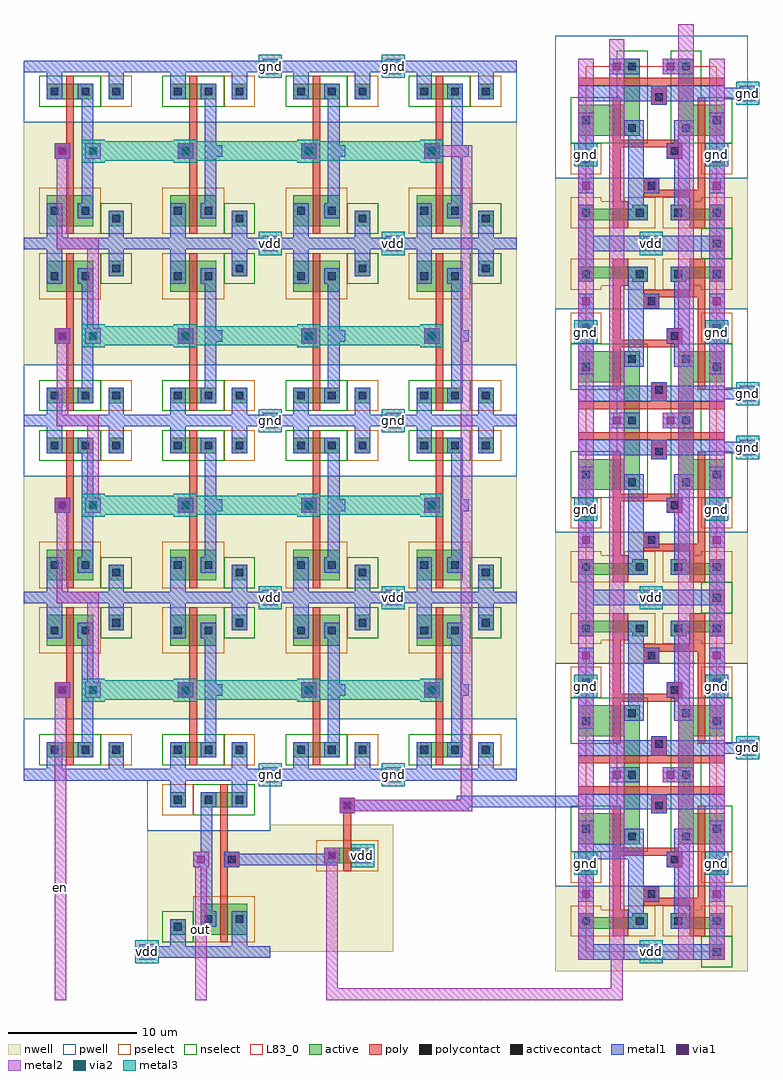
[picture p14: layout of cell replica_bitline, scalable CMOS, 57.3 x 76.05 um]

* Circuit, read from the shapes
.subckt replica_bitline en gnd out vdd
M1 delay_chain_2/pinv_9_1/A en gnd gnd nfet w=1.2u l=0.6u
M2 delay_chain_2/pinv_9_5/A delay_chain_2/pinv_9_1/A gnd gnd nfet w=1.2u l=0.6u
M3 delay_chain_2/pinv_9_10/A delay_chain_2/pinv_9_5/A gnd gnd nfet w=1.2u l=0.6u
M4 pmos_m1_w1_2_1/G delay_chain_2/pinv_9_10/A gnd gnd nfet w=1.2u l=0.6u
M5 delay_chain_2/pinv_9_1/Z delay_chain_2/pinv_9_1/A gnd gnd nfet w=1.2u l=0.6u
M6 delay_chain_2/pinv_9_5/Z delay_chain_2/pinv_9_5/A gnd gnd nfet w=1.2u l=0.6u
M7 delay_chain_2/pinv_9_9/Z delay_chain_2/pinv_9_10/A gnd gnd nfet w=1.2u l=0.6u
M8 delay_chain_2/pinv_9_13/Z pmos_m1_w1_2_1/G gnd gnd nfet w=1.2u l=0.6u
M9 gnd pinv_10_0/A out gnd nfet w=1.2u l=0.6u
M10 delay_chain_2/pinv_9_2/Z delay_chain_2/pinv_9_1/A gnd gnd nfet w=1.2u l=0.6u
M11 delay_chain_2/pinv_9_6/Z delay_chain_2/pinv_9_5/A gnd gnd nfet w=1.2u l=0.6u
M12 delay_chain_2/pinv_9_10/Z delay_chain_2/pinv_9_10/A gnd gnd nfet w=1.2u l=0.6u
M13 delay_chain_2/pinv_9_14/Z pmos_m1_w1_2_1/G gnd gnd nfet w=1.2u l=0.6u
M14 delay_chain_2/pinv_9_3/Z delay_chain_2/pinv_9_1/A gnd gnd nfet w=1.2u l=0.6u
M15 delay_chain_2/pinv_9_7/Z delay_chain_2/pinv_9_5/A gnd gnd nfet w=1.2u l=0.6u
M16 delay_chain_2/pinv_9_11/Z delay_chain_2/pinv_9_10/A gnd gnd nfet w=1.2u l=0.6u
M17 delay_chain_2/pinv_9_15/Z pmos_m1_w1_2_1/G gnd gnd nfet w=1.2u l=0.6u
M18 gnd n1 gnd gnd nfet w=2.4u l=0.6u
M19 n2 n3 gnd gnd nfet w=2.4u l=0.6u
M20 n4 n5 gnd gnd nfet w=2.4u l=0.6u
M21 n6 n7 gnd gnd nfet w=2.4u l=0.6u
M22 n8 n9 gnd gnd nfet w=2.4u l=0.6u
M23 pinv_10_0/A pmos_m1_w1_2_1/G gnd gnd nfet w=1.2u l=0.6u
M24 n2 gnd pinv_10_0/A gnd nfet w=1.2u l=0.6u
M25 pinv_10_0/A gnd n4 gnd nfet w=1.2u l=0.6u
M26 n6 gnd pinv_10_0/A gnd nfet w=1.2u l=0.6u
M27 pinv_10_0/A gnd n8 gnd nfet w=1.2u l=0.6u
M28 replica_cell_6t_3/BR pmos_m1_w1_2_1/G n1 gnd nfet w=1.2u l=0.6u
M29 n3 gnd replica_cell_6t_3/BR gnd nfet w=1.2u l=0.6u
M30 replica_cell_6t_3/BR gnd n5 gnd nfet w=1.2u l=0.6u
M31 n7 gnd replica_cell_6t_3/BR gnd nfet w=1.2u l=0.6u
M32 replica_cell_6t_3/BR gnd n9 gnd nfet w=1.2u l=0.6u
M33 gnd gnd n1 gnd nfet w=2.4u l=0.6u
M34 gnd n2 n3 gnd nfet w=2.4u l=0.6u
M35 gnd n4 n5 gnd nfet w=2.4u l=0.6u
M36 gnd n6 n7 gnd nfet w=2.4u l=0.6u
M37 gnd n8 n9 gnd nfet w=2.4u l=0.6u
M38 delay_chain_2/pinv_9_1/A en vdd vdd pfet w=2.4u l=0.6u
M39 delay_chain_2/pinv_9_5/A delay_chain_2/pinv_9_1/A vdd vdd pfet w=2.4u l=0.6u
M40 delay_chain_2/pinv_9_10/A delay_chain_2/pinv_9_5/A vdd vdd pfet w=2.4u l=0.6u
M41 pmos_m1_w1_2_1/G delay_chain_2/pinv_9_10/A vdd vdd pfet w=2.4u l=0.6u
M42 delay_chain_2/pinv_9_1/Z delay_chain_2/pinv_9_1/A vdd vdd pfet w=2.4u l=0.6u
M43 delay_chain_2/pinv_9_5/Z delay_chain_2/pinv_9_5/A vdd vdd pfet w=2.4u l=0.6u
M44 delay_chain_2/pinv_9_9/Z delay_chain_2/pinv_9_10/A vdd vdd pfet w=2.4u l=0.6u
M45 delay_chain_2/pinv_9_13/Z pmos_m1_w1_2_1/G vdd vdd pfet w=2.4u l=0.6u
M46 vdd pinv_10_0/A out vdd pfet w=2.4u l=0.6u
M47 delay_chain_2/pinv_9_2/Z delay_chain_2/pinv_9_1/A vdd vdd pfet w=2.4u l=0.6u
M48 delay_chain_2/pinv_9_6/Z delay_chain_2/pinv_9_5/A vdd vdd pfet w=2.4u l=0.6u
M49 delay_chain_2/pinv_9_10/Z delay_chain_2/pinv_9_10/A vdd vdd pfet w=2.4u l=0.6u
M50 delay_chain_2/pinv_9_14/Z pmos_m1_w1_2_1/G vdd vdd pfet w=2.4u l=0.6u
M51 vdd pmos_m1_w1_2_1/G pinv_10_0/A vdd pfet w=1.2u l=0.6u
M52 delay_chain_2/pinv_9_3/Z delay_chain_2/pinv_9_1/A vdd vdd pfet w=2.4u l=0.6u
M53 delay_chain_2/pinv_9_7/Z delay_chain_2/pinv_9_5/A vdd vdd pfet w=2.4u l=0.6u
M54 delay_chain_2/pinv_9_11/Z delay_chain_2/pinv_9_10/A vdd vdd pfet w=2.4u l=0.6u
M55 delay_chain_2/pinv_9_15/Z pmos_m1_w1_2_1/G vdd vdd pfet w=2.4u l=0.6u
M56 gnd n1 vdd vdd pfet w=0.9u l=1.2u
M57 n2 n3 vdd vdd pfet w=0.9u l=1.2u
M58 n4 n5 vdd vdd pfet w=0.9u l=1.2u
M59 n6 n7 vdd vdd pfet w=0.9u l=1.2u
M60 n8 n9 vdd vdd pfet w=0.9u l=1.2u
M61 vdd gnd n1 vdd pfet w=0.9u l=1.2u
M62 vdd n2 n3 vdd pfet w=0.9u l=1.2u
M63 vdd n4 n5 vdd pfet w=0.9u l=1.2u
M64 vdd n6 n7 vdd pfet w=0.9u l=1.2u
M65 vdd n8 n9 vdd pfet w=0.9u l=1.2u
.ends

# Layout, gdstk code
from math import pi, radians
import gdstk
lib = gdstk.Library(unit=1e-6, precision=1e-09)
def R(c, l, rs):  # rectangles x0, y0, x1, y1
    for r in rs: c.add(gdstk.rectangle(r[:2], r[2:], *l))
def A(c, l, x, y, w, h, nx, ny, dx, dy):  # array of equal rectangles
    R(c, l, [(x+i*dx, y+j*dy, x+i*dx+w, y+j*dy+h) for i in range(nx) for j in range(ny)])
pwell = (41, 0)
nwell = (42, 0)
active = (43, 0)
pselect = (44, 0)
nselect = (45, 0)
poly = (46, 0)
polycontact = (47, 0)
activecontact = (48, 0)
metal1 = (49, 0)
via1 = (50, 0)
metal2 = (51, 0)
via2 = (61, 0)
metal3 = (62, 0)
L83_0 = (83, 0)

active_contact_metal1_1x = lib.new_cell('active_contact_metal1_1x1_pn')
R(active_contact_metal1_1x, nwell, [(-1.8,-1.8,3,3)])
R(active_contact_metal1_1x, active, [(0,0,1.2,1.2)])
R(active_contact_metal1_1x, pselect, [(-0.6,-0.6,1.8,1.8)])
R(active_contact_metal1_1x, activecontact, [(0.3,0.3,0.9,0.9)])
R(active_contact_metal1_1x, metal1, [(0,0,1.2,1.2)])

pmos_m1_w2_4_a_p = lib.new_cell('pmos_m1_w2_4_a_p')
R(pmos_m1_w2_4_a_p, nwell, [(-1.8,-1.8,5.4,4.2)])
R(pmos_m1_w2_4_a_p, active, [(0,0,3.6,2.4)])
R(pmos_m1_w2_4_a_p, pselect, [(-0.6,-0.6,4.2,3)])
R(pmos_m1_w2_4_a_p, poly, [(1.5,-0.6,2.1,3), (1.5,-0.6,2.1,3)])
R(pmos_m1_w2_4_a_p, metal1, [(0,0.6,1.2,1.8), (2.4,0.6,3.6,1.8)])
pmos_m1_w2_4_a_p.add(gdstk.Reference(active_contact_metal1_1x, (0,0.6)))
pmos_m1_w2_4_a_p.add(gdstk.Reference(active_contact_metal1_1x, (2.4,0.6)))
pmos_m1_w2_4_a_p.add(gdstk.Label('G', (1.8,1.2), layer=46, texttype=0))
pmos_m1_w2_4_a_p.add(gdstk.Label('S', (0.6,1.2), layer=49, texttype=0))
pmos_m1_w2_4_a_p.add(gdstk.Label('D', (3,1.2), layer=49, texttype=0))

c_active_contact_metal1_1x = lib.new_cell('active_contact_metal1_1x1_np')
R(c_active_contact_metal1_1x, pwell, [(-1.8,-1.8,3,3)])
R(c_active_contact_metal1_1x, active, [(0,0,1.2,1.2)])
R(c_active_contact_metal1_1x, nselect, [(-0.6,-0.6,1.8,1.8)])
R(c_active_contact_metal1_1x, activecontact, [(0.3,0.3,0.9,0.9)])
R(c_active_contact_metal1_1x, metal1, [(0,0,1.2,1.2)])

nmos_m1_w1_2_a_p = lib.new_cell('nmos_m1_w1_2_a_p')
R(nmos_m1_w1_2_a_p, pwell, [(-1.8,-1.8,5.4,3)])
R(nmos_m1_w1_2_a_p, active, [(0,0,3.6,1.2)])
R(nmos_m1_w1_2_a_p, nselect, [(-0.6,-0.6,4.2,1.8)])
R(nmos_m1_w1_2_a_p, poly, [(1.5,-0.6,2.1,1.8), (1.5,-0.6,2.1,1.8)])
R(nmos_m1_w1_2_a_p, metal1, [(0,0,1.2,1.2), (2.4,0,3.6,1.2)])
nmos_m1_w1_2_a_p.add(gdstk.Reference(c_active_contact_metal1_1x, (0,0)))
nmos_m1_w1_2_a_p.add(gdstk.Reference(c_active_contact_metal1_1x, (2.4,0)))
nmos_m1_w1_2_a_p.add(gdstk.Label('G', (1.8,0.6), layer=46, texttype=0))
nmos_m1_w1_2_a_p.add(gdstk.Label('S', (0.6,0.6), layer=49, texttype=0))
nmos_m1_w1_2_a_p.add(gdstk.Label('D', (3,0.6), layer=49, texttype=0))

c_active_contact_metal1_1x_ = lib.new_cell('active_contact_metal1_1x1_nn')
R(c_active_contact_metal1_1x_, nwell, [(-1.8,-1.8,3,3)])
R(c_active_contact_metal1_1x_, active, [(0,0,1.2,1.2)])
R(c_active_contact_metal1_1x_, nselect, [(-0.6,-0.6,1.8,1.8)])
R(c_active_contact_metal1_1x_, activecontact, [(0.3,0.3,0.9,0.9)])
R(c_active_contact_metal1_1x_, metal1, [(0,0,1.2,1.2)])

c_active_contact_metal1_1x__ = lib.new_cell('active_contact_metal1_1x1_pp')
R(c_active_contact_metal1_1x__, pwell, [(-1.8,-1.8,3,3)])
R(c_active_contact_metal1_1x__, active, [(0,0,1.2,1.2)])
R(c_active_contact_metal1_1x__, pselect, [(-0.6,-0.6,1.8,1.8)])
R(c_active_contact_metal1_1x__, activecontact, [(0.3,0.3,0.9,0.9)])
R(c_active_contact_metal1_1x__, metal1, [(0,0,1.2,1.2)])

poly_contact_metal1_1x1 = lib.new_cell('poly_contact_metal1_1x1')
R(poly_contact_metal1_1x1, poly, [(0,0,1.2,1.2)])
R(poly_contact_metal1_1x1, polycontact, [(0.3,0.3,0.9,0.9)])
R(poly_contact_metal1_1x1, metal1, [(0,0,1.2,1.2)])

pinv_10 = lib.new_cell('pinv_10')
R(pinv_10, pwell, [(0,-0.45,9.6,4.35)])
R(pinv_10, nwell, [(0,4.35,9.6,14.25)])
R(pinv_10, poly, [(3.3,0.75,3.9,9.45), (3,6,3.3,7.2)])
R(pinv_10, metal1, [(0,-0.45,9.6,0.45), (1.8,-0.45,3,1.35), (6.6,0,7.8,1.95), (4.5,1.35,5.4,10.65), (2.4,6,3.6,7.2), (4.95,6.15,5.85,7.05), (1.8,10.65,3,14.25), (6.6,11.85,7.8,13.8), (0,13.35,9.6,14.25)])
pinv_10.add(gdstk.Reference(pmos_m1_w2_4_a_p, (1.8,10.05)))
pinv_10.add(gdstk.Reference(nmos_m1_w1_2_a_p, (1.8,1.35)))
pinv_10.add(gdstk.Reference(c_active_contact_metal1_1x_, (6.6,11.25)))
pinv_10.add(gdstk.Reference(c_active_contact_metal1_1x__, (6.6,1.35)))
pinv_10.add(gdstk.Reference(poly_contact_metal1_1x1, (2.4,6)))
pinv_10.add(gdstk.Label('gnd', (4.8,0), layer=49, texttype=0))
pinv_10.add(gdstk.Label('vdd', (4.8,13.8), layer=49, texttype=0))
pinv_10.add(gdstk.Label('A', (3,6.6), layer=49, texttype=0))
pinv_10.add(gdstk.Label('Z', (5.4,6.6), layer=49, texttype=0))

pmos_m1_w1_2 = lib.new_cell('pmos_m1_w1_2')
R(pmos_m1_w1_2, nwell, [(-1.8,-1.8,5.4,3)])
R(pmos_m1_w1_2, active, [(0,0,3.6,1.2)])
R(pmos_m1_w1_2, pselect, [(-0.6,-0.6,4.2,1.8)])
R(pmos_m1_w1_2, poly, [(1.5,-0.6,2.1,1.8), (1.5,-0.6,2.1,1.8)])
R(pmos_m1_w1_2, metal1, [(0,0,1.2,1.2), (2.4,0,3.6,1.2)])
pmos_m1_w1_2.add(gdstk.Reference(active_contact_metal1_1x, (0,0)))
pmos_m1_w1_2.add(gdstk.Reference(active_contact_metal1_1x, (2.4,0)))
pmos_m1_w1_2.add(gdstk.Label('G', (1.8,0.6), layer=46, texttype=0))
pmos_m1_w1_2.add(gdstk.Label('S', (0.6,0.6), layer=49, texttype=0))
pmos_m1_w1_2.add(gdstk.Label('D', (3,0.6), layer=49, texttype=0))

pinv_9 = lib.new_cell('pinv_9')
R(pinv_9, pwell, [(0,-0.45,9.6,4.35)])
R(pinv_9, nwell, [(0,4.35,9.6,14.25)])
R(pinv_9, poly, [(3.3,0.75,3.9,9.45), (3,6,3.3,7.2)])
R(pinv_9, metal1, [(0,-0.45,9.6,0.45), (1.8,-0.45,3,1.35), (6.6,0,7.8,1.95), (4.5,1.35,5.4,10.65), (2.4,6,3.6,7.2), (4.95,6.15,5.85,7.05), (1.8,10.65,3,14.25), (6.6,11.85,7.8,13.8), (0,13.35,9.6,14.25)])
pinv_9.add(gdstk.Reference(pmos_m1_w2_4_a_p, (1.8,10.05)))
pinv_9.add(gdstk.Reference(nmos_m1_w1_2_a_p, (1.8,1.35)))
pinv_9.add(gdstk.Reference(c_active_contact_metal1_1x_, (6.6,11.25)))
pinv_9.add(gdstk.Reference(c_active_contact_metal1_1x__, (6.6,1.35)))
pinv_9.add(gdstk.Reference(poly_contact_metal1_1x1, (2.4,6)))
pinv_9.add(gdstk.Label('gnd', (4.8,0), layer=49, texttype=0))
pinv_9.add(gdstk.Label('vdd', (4.8,13.8), layer=49, texttype=0))
pinv_9.add(gdstk.Label('A', (3,6.6), layer=49, texttype=0))
pinv_9.add(gdstk.Label('Z', (5.4,6.6), layer=49, texttype=0))

metal1_via1_metal2_1x1 = lib.new_cell('metal1_via1_metal2_1x1')
R(metal1_via1_metal2_1x1, metal1, [(0,0,1.2,1.2)])
R(metal1_via1_metal2_1x1, via1, [(0.3,0.3,0.9,0.9)])
R(metal1_via1_metal2_1x1, metal2, [(0,0,1.2,1.2)])

metal2_via2_metal3_1x1 = lib.new_cell('metal2_via2_metal3_1x1')
R(metal2_via2_metal3_1x1, metal2, [(0.3,0.3,1.5,1.5)])
R(metal2_via2_metal3_1x1, via2, [(0.6,0.6,1.2,1.2)])
R(metal2_via2_metal3_1x1, metal3, [(0,0,1.8,1.8)])

delay_chain = lib.new_cell('delay_chain')
A(delay_chain, metal2, 2.55, 13.35, 0.9, 0.9, 1, 3, 0, 13.8)
A(delay_chain, metal2, 3, 13.35, 2.4, 0.9, 1, 3, 0, 13.8)
A(delay_chain, metal2, 4.95, 13.35, 0.9, 0.9, 1, 3, 0, 13.8)
R(delay_chain, metal2, [(2.4,0,3.3,6.6), (34.05,0,34.95,48.6), (34.05,0,34.95,48.6), (4.95,6.6,5.85,13.8), (2.55,13.8,3.45,21), (4.95,21,5.85,27.6), (2.55,27.6,3.45,34.2), (4.95,34.2,5.85,41.4), (2.55,41.4,3.45,48.6), (31.8,48.15,34.5,49.05), (34.05,48.15,34.95,49.05)])
A(delay_chain, metal3, 18.45, -0.75, 1.5, 1.5, 1, 5, 0, 13.8)
A(delay_chain, metal3, 28.05, -0.75, 1.5, 1.5, 1, 5, 0, 13.8)
R(delay_chain, metal3, [(5.4,5.85,31.8,7.35), (5.4,20.25,31.8,21.75), (5.4,33.45,31.8,34.95), (5.4,47.85,31.8,49.35)])
delay_chain.add(gdstk.Reference(pinv_9, (0,0)))
delay_chain.add(gdstk.Reference(pinv_9, (9.6,0)))
delay_chain.add(gdstk.Reference(pinv_9, (19.2,0)))
delay_chain.add(gdstk.Reference(pinv_9, (28.8,0)))
delay_chain.add(gdstk.Reference(pinv_9, (0,27.6), x_reflection=True))
delay_chain.add(gdstk.Reference(pinv_9, (9.6,27.6), x_reflection=True))
delay_chain.add(gdstk.Reference(pinv_9, (19.2,27.6), x_reflection=True))
delay_chain.add(gdstk.Reference(pinv_9, (28.8,27.6), x_reflection=True))
delay_chain.add(gdstk.Reference(pinv_9, (0,27.6)))
delay_chain.add(gdstk.Reference(pinv_9, (9.6,27.6)))
delay_chain.add(gdstk.Reference(pinv_9, (19.2,27.6)))
delay_chain.add(gdstk.Reference(pinv_9, (28.8,27.6)))
delay_chain.add(gdstk.Reference(pinv_9, (0,55.2), x_reflection=True))
delay_chain.add(gdstk.Reference(pinv_9, (9.6,55.2), x_reflection=True))
delay_chain.add(gdstk.Reference(pinv_9, (19.2,55.2), x_reflection=True))
delay_chain.add(gdstk.Reference(pinv_9, (28.8,55.2), x_reflection=True))
delay_chain.add(gdstk.Reference(metal1_via1_metal2_1x1, (12,6)))
delay_chain.add(gdstk.Reference(metal2_via2_metal3_1x1, (11.7,5.7)))
delay_chain.add(gdstk.Reference(metal1_via1_metal2_1x1, (21.6,6)))
delay_chain.add(gdstk.Reference(metal2_via2_metal3_1x1, (21.3,5.7)))
delay_chain.add(gdstk.Reference(metal1_via1_metal2_1x1, (31.2,6)))
delay_chain.add(gdstk.Reference(metal2_via2_metal3_1x1, (30.9,5.7)))
delay_chain.add(gdstk.Reference(metal1_via1_metal2_1x1, (2.4,6)))
delay_chain.add(gdstk.Reference(metal1_via1_metal2_1x1, (4.8,6)))
delay_chain.add(gdstk.Reference(metal2_via2_metal3_1x1, (4.5,5.7)))
delay_chain.add(gdstk.Reference(metal1_via1_metal2_1x1, (12,20.4)))
delay_chain.add(gdstk.Reference(metal2_via2_metal3_1x1, (11.7,20.1)))
delay_chain.add(gdstk.Reference(metal1_via1_metal2_1x1, (21.6,20.4)))
delay_chain.add(gdstk.Reference(metal2_via2_metal3_1x1, (21.3,20.1)))
delay_chain.add(gdstk.Reference(metal1_via1_metal2_1x1, (31.2,20.4)))
delay_chain.add(gdstk.Reference(metal2_via2_metal3_1x1, (30.9,20.1)))
delay_chain.add(gdstk.Reference(metal1_via1_metal2_1x1, (2.4,20.4)))
delay_chain.add(gdstk.Reference(metal1_via1_metal2_1x1, (4.8,20.4)))
delay_chain.add(gdstk.Reference(metal2_via2_metal3_1x1, (4.5,20.1)))
delay_chain.add(gdstk.Reference(metal1_via1_metal2_1x1, (12,33.6)))
delay_chain.add(gdstk.Reference(metal2_via2_metal3_1x1, (11.7,33.3)))
delay_chain.add(gdstk.Reference(metal1_via1_metal2_1x1, (21.6,33.6)))
delay_chain.add(gdstk.Reference(metal2_via2_metal3_1x1, (21.3,33.3)))
delay_chain.add(gdstk.Reference(metal1_via1_metal2_1x1, (31.2,33.6)))
delay_chain.add(gdstk.Reference(metal2_via2_metal3_1x1, (30.9,33.3)))
delay_chain.add(gdstk.Reference(metal1_via1_metal2_1x1, (2.4,33.6)))
delay_chain.add(gdstk.Reference(metal1_via1_metal2_1x1, (4.8,33.6)))
delay_chain.add(gdstk.Reference(metal2_via2_metal3_1x1, (4.5,33.3)))
delay_chain.add(gdstk.Reference(metal1_via1_metal2_1x1, (12,48)))
delay_chain.add(gdstk.Reference(metal2_via2_metal3_1x1, (11.7,47.7)))
delay_chain.add(gdstk.Reference(metal1_via1_metal2_1x1, (21.6,48)))
delay_chain.add(gdstk.Reference(metal2_via2_metal3_1x1, (21.3,47.7)))
delay_chain.add(gdstk.Reference(metal1_via1_metal2_1x1, (31.2,48)))
delay_chain.add(gdstk.Reference(metal2_via2_metal3_1x1, (30.9,47.7)))
delay_chain.add(gdstk.Reference(metal1_via1_metal2_1x1, (2.4,48)))
delay_chain.add(gdstk.Reference(metal1_via1_metal2_1x1, (4.8,48)))
delay_chain.add(gdstk.Reference(metal2_via2_metal3_1x1, (4.5,47.7)))
delay_chain.add(gdstk.Reference(metal1_via1_metal2_1x1, (19.8,13.2), rotation=pi/2))
delay_chain.add(gdstk.Reference(metal2_via2_metal3_1x1, (20.1,12.9), rotation=pi/2))
delay_chain.add(gdstk.Reference(metal1_via1_metal2_1x1, (19.8,-0.6), rotation=pi/2))
delay_chain.add(gdstk.Reference(metal2_via2_metal3_1x1, (20.1,-0.9), rotation=pi/2))
delay_chain.add(gdstk.Reference(metal1_via1_metal2_1x1, (29.4,13.2), rotation=pi/2))
delay_chain.add(gdstk.Reference(metal2_via2_metal3_1x1, (29.7,12.9), rotation=pi/2))
delay_chain.add(gdstk.Reference(metal1_via1_metal2_1x1, (29.4,-0.6), rotation=pi/2))
delay_chain.add(gdstk.Reference(metal2_via2_metal3_1x1, (29.7,-0.9), rotation=pi/2))
delay_chain.add(gdstk.Reference(metal1_via1_metal2_1x1, (19.8,40.8), rotation=pi/2))
delay_chain.add(gdstk.Reference(metal2_via2_metal3_1x1, (20.1,40.5), rotation=pi/2))
delay_chain.add(gdstk.Reference(metal1_via1_metal2_1x1, (19.8,27), rotation=pi/2))
delay_chain.add(gdstk.Reference(metal2_via2_metal3_1x1, (20.1,26.7), rotation=pi/2))
delay_chain.add(gdstk.Reference(metal1_via1_metal2_1x1, (29.4,40.8), rotation=pi/2))
delay_chain.add(gdstk.Reference(metal2_via2_metal3_1x1, (29.7,40.5), rotation=pi/2))
delay_chain.add(gdstk.Reference(metal1_via1_metal2_1x1, (29.4,27), rotation=pi/2))
delay_chain.add(gdstk.Reference(metal2_via2_metal3_1x1, (29.7,26.7), rotation=pi/2))
delay_chain.add(gdstk.Reference(metal1_via1_metal2_1x1, (19.8,54.6), rotation=pi/2))
delay_chain.add(gdstk.Reference(metal2_via2_metal3_1x1, (20.1,54.3), rotation=pi/2))
delay_chain.add(gdstk.Reference(metal1_via1_metal2_1x1, (29.4,54.6), rotation=pi/2))
delay_chain.add(gdstk.Reference(metal2_via2_metal3_1x1, (29.7,54.3), rotation=pi/2))
delay_chain.add(gdstk.Reference(metal1_via1_metal2_1x1, (2.4,6)))
delay_chain.add(gdstk.Reference(metal1_via1_metal2_1x1, (31.2,48)))
delay_chain.add(gdstk.Label('vdd', (19.2,13.8), layer=62, texttype=0))
delay_chain.add(gdstk.Label('vdd', (28.8,13.8), layer=62, texttype=0))
delay_chain.add(gdstk.Label('vdd', (19.2,41.4), layer=62, texttype=0))
delay_chain.add(gdstk.Label('vdd', (28.8,41.4), layer=62, texttype=0))
delay_chain.add(gdstk.Label('gnd', (19.2,0), layer=62, texttype=0))
delay_chain.add(gdstk.Label('gnd', (28.8,0), layer=62, texttype=0))
delay_chain.add(gdstk.Label('gnd', (19.2,27.6), layer=62, texttype=0))
delay_chain.add(gdstk.Label('gnd', (28.8,27.6), layer=62, texttype=0))
delay_chain.add(gdstk.Label('gnd', (19.2,55.2), layer=62, texttype=0))
delay_chain.add(gdstk.Label('gnd', (28.8,55.2), layer=62, texttype=0))
delay_chain.add(gdstk.Label('in', (2.85,3.3), layer=51, texttype=0))
delay_chain.add(gdstk.Label('out', (34.5,24.3), layer=51, texttype=0))

replica_cell_6t = lib.new_cell('replica_cell_6t')
R(replica_cell_6t, pwell, [(-2.4,-2.4,12.6,8.7)])
R(replica_cell_6t, nwell, [(-2.4,8.7,12.6,15.3)])
A(replica_cell_6t, active, 3.6, 10.8, 1.2, 0.3, 3, 1, 3, 0)
R(replica_cell_6t, active, [(3,-0.6,4.2,3), (7.2,-0.6,8.4,3), (-0.6,3,4.2,5.4), (7.2,3,10.8,5.4), (-0.6,6.6,0.6,7.8), (9.6,6.6,10.8,7.8), (-0.6,10.8,0.6,11.1), (-0.6,11.1,4.8,12), (6.6,11.1,10.8,12), (9.6,13.2,10.8,14.4)])
A(replica_cell_6t, pselect, 3, 10.2, 2.4, 0.3, 3, 1, 3, 0)
R(replica_cell_6t, pselect, [(-1.2,6,1.2,8.4), (9,6,11.4,8.4), (-1.2,10.2,1.2,10.5), (-1.2,10.5,5.4,12.6), (6,10.5,11.4,12.6)])
R(replica_cell_6t, nselect, [(2.4,-1.2,4.8,2.4), (6.6,-1.2,9,2.4), (-1.2,2.4,4.8,6), (6.6,2.4,11.4,6), (9,12.6,11.4,15)])
R(replica_cell_6t, poly, [(-0.6,0.9,10.8,1.5), (5.1,1.5,6.3,3), (2.1,2.4,2.7,5.7), (8.7,2.4,9.3,9.6), (2.1,5.7,7.2,6), (2.1,6,7.5,6.3), (2.1,6.3,2.7,10.5), (6.3,6.3,7.5,7.2), (4.5,8.7,5.7,9.6), (4.5,9.6,9.3,10.2), (8.1,10.2,9.3,12.6), (2.1,10.5,3.3,12.6)])
R(replica_cell_6t, polycontact, [(5.4,2.1,6,2.7), (6.6,6.3,7.2,6.9), (4.8,9,5.4,9.6)])
A(replica_cell_6t, activecontact, 3.9, 11.1, 0.6, 0.6, 3, 1, 3, 0)
R(replica_cell_6t, activecontact, [(3.3,-0.3,3.9,0.3), (7.5,-0.3,8.1,0.3), (-0.3,3.9,0.3,4.5), (9.9,3.9,10.5,4.5), (3.3,4.5,3.9,5.1), (7.5,4.5,8.1,5.1), (-0.3,6.9,0.3,7.5), (9.9,6.9,10.5,7.5), (-0.3,11.1,0.3,11.7), (9.9,13.5,10.5,14.1)])
R(replica_cell_6t, metal1, [(1.8,-0.6,4.2,0.6), (6,-0.6,8.4,0.6), (-0.6,1.5,10.8,2.7), (-0.6,1.5,10.8,2.7), (5.1,2.7,6.3,3), (-0.6,3.6,0.6,5.4), (9.6,3.6,10.8,9.9), (3,4.2,4.5,5.4), (6.9,4.2,8.4,5.4), (-0.6,5.4,4.5,6.6), (6.9,5.4,8.1,6), (6.3,6,8.1,7.2), (-0.6,6.6,0.6,9.9), (3.3,6.6,4.5,8.7), (6.9,7.2,8.1,10.8), (3.3,8.7,5.7,9.9), (3.3,9.9,4.5,10.8), (-0.6,10.8,0.6,13.2), (3.3,10.8,4.8,12), (6.6,10.8,8.1,12), (9.6,10.8,10.8,13.2), (-0.6,13.2,10.8,14.4)])
R(replica_cell_6t, via1, [(2.1,-0.3,2.7,0.3), (6.3,-0.3,6.9,0.3), (-0.3,9,0.3,9.6), (9.9,9,10.5,9.6), (4.8,13.5,5.4,14.1)])
R(replica_cell_6t, metal2, [(-0.6,-0.6,0.6,14.4), (-0.6,-0.6,0.6,14.4), (1.8,-0.6,3,14.4), (1.8,-0.6,3,14.4), (6,-0.6,8.4,0.6), (9.6,-0.6,10.8,14.4), (9.6,-0.6,10.8,14.4), (7.2,0.6,8.4,14.4), (7.2,0.6,8.4,14.4), (4.5,13.2,5.7,14.4), (4.5,13.2,5.7,14.4)])
R(replica_cell_6t, L83_0, [(0,0,10.2,13.8)])
replica_cell_6t.add(gdstk.Label('gnd', (0,0), layer=51, texttype=0))
replica_cell_6t.add(gdstk.Label('gnd', (10.2,0), layer=51, texttype=0))
replica_cell_6t.add(gdstk.Label('vdd', (5.1,13.8), layer=51, texttype=0))
replica_cell_6t.add(gdstk.Label('WL', (1.2,2.1), layer=49, texttype=0))
replica_cell_6t.add(gdstk.Label('BL', (2.4,12.9), layer=51, texttype=0))
replica_cell_6t.add(gdstk.Label('BR', (7.8,12.9), layer=51, texttype=0))
replica_cell_6t.add(gdstk.Label('BL', (2.4,6.9), layer=51, texttype=0))
replica_cell_6t.add(gdstk.Label('BR', (7.8,7.5), layer=51, texttype=0))
replica_cell_6t.add(gdstk.Label('WL', (5.1,2.1), layer=49, texttype=0))
replica_cell_6t.add(gdstk.Label('vdd', (5.1,13.8), layer=51, texttype=0))
replica_cell_6t.add(gdstk.Label('gnd', (0,6.9), layer=51, texttype=0))
replica_cell_6t.add(gdstk.Label('gnd', (10.2,6.9), layer=51, texttype=0))

cell_6t = lib.new_cell('cell_6t')
R(cell_6t, pwell, [(-2.4,-2.4,12.6,8.7)])
R(cell_6t, nwell, [(-2.4,8.7,12.6,15.3)])
A(cell_6t, active, 3.6, 10.8, 1.2, 0.3, 3, 1, 3, 0)
R(cell_6t, active, [(3,-0.6,4.2,3), (7.2,-0.6,8.4,3), (-0.6,3,4.2,5.4), (7.2,3,10.8,5.4), (-0.6,6.6,0.6,7.8), (9.6,6.6,10.8,7.8), (-0.6,10.8,0.6,11.1), (-0.6,11.1,4.8,12), (6.6,11.1,10.8,12), (9.6,13.2,10.8,14.4)])
A(cell_6t, pselect, 3, 10.2, 2.4, 0.3, 3, 1, 3, 0)
R(cell_6t, pselect, [(-1.2,6,1.2,8.4), (9,6,11.4,8.4), (-1.2,10.2,1.2,10.5), (-1.2,10.5,5.4,12.6), (6,10.5,11.4,12.6)])
R(cell_6t, nselect, [(2.4,-1.2,4.8,2.4), (6.6,-1.2,9,2.4), (-1.2,2.4,4.8,6), (6.6,2.4,11.4,6), (9,12.6,11.4,15)])
R(cell_6t, poly, [(-0.6,0.9,10.8,1.5), (5.1,1.5,6.3,3), (2.1,2.4,2.7,5.7), (8.7,2.4,9.3,9.6), (2.1,5.7,7.2,6), (2.1,6,7.5,6.3), (2.1,6.3,2.7,10.5), (6.3,6.3,7.5,7.2), (4.5,8.7,5.7,9.6), (4.5,9.6,9.3,10.2), (8.1,10.2,9.3,12.6), (2.1,10.5,3.3,12.6)])
R(cell_6t, polycontact, [(5.4,2.1,6,2.7), (6.6,6.3,7.2,6.9), (4.8,9,5.4,9.6)])
A(cell_6t, activecontact, 3.9, 11.1, 0.6, 0.6, 3, 1, 3, 0)
R(cell_6t, activecontact, [(3.3,-0.3,3.9,0.3), (7.5,-0.3,8.1,0.3), (-0.3,3.9,0.3,4.5), (9.9,3.9,10.5,4.5), (3.3,4.5,3.9,5.1), (7.5,4.5,8.1,5.1), (-0.3,6.9,0.3,7.5), (9.9,6.9,10.5,7.5), (-0.3,11.1,0.3,11.7), (9.9,13.5,10.5,14.1)])
R(cell_6t, metal1, [(1.8,-0.6,4.2,0.6), (6,-0.6,8.4,0.6), (-0.6,1.5,10.8,2.7), (-0.6,1.5,10.8,2.7), (5.1,2.7,6.3,3), (-0.6,3.6,0.6,9.9), (9.6,3.6,10.8,9.9), (3,4.2,4.5,5.4), (6.9,4.2,8.4,5.4), (3.3,5.4,4.5,8.7), (6.9,5.4,8.1,6), (6.3,6,8.1,7.2), (6.9,7.2,8.1,10.8), (3.3,8.7,5.7,9.9), (3.3,9.9,4.5,10.8), (-0.6,10.8,0.6,13.2), (3.3,10.8,4.8,12), (6.6,10.8,8.1,12), (9.6,10.8,10.8,13.2), (-0.6,13.2,10.8,14.4)])
R(cell_6t, via1, [(2.1,-0.3,2.7,0.3), (6.3,-0.3,6.9,0.3), (-0.3,9,0.3,9.6), (9.9,9,10.5,9.6), (4.8,13.5,5.4,14.1)])
R(cell_6t, metal2, [(-0.6,-0.6,0.6,14.4), (-0.6,-0.6,0.6,14.4), (1.8,-0.6,3,14.4), (1.8,-0.6,3,14.4), (6,-0.6,8.4,0.6), (9.6,-0.6,10.8,14.4), (9.6,-0.6,10.8,14.4), (7.2,0.6,8.4,14.4), (7.2,0.6,8.4,14.4), (4.5,13.2,5.7,14.4), (4.5,13.2,5.7,14.4)])
R(cell_6t, L83_0, [(0,0,10.2,13.8)])
cell_6t.add(gdstk.Label('wl', (1.2,2.1), layer=49, texttype=0))
cell_6t.add(gdstk.Label('br', (7.8,12.9), layer=51, texttype=0))
cell_6t.add(gdstk.Label('bl', (2.4,12.9), layer=51, texttype=0))
cell_6t.add(gdstk.Label('vdd', (5.1,13.8), layer=51, texttype=0))
cell_6t.add(gdstk.Label('gnd', (10.2,0), layer=51, texttype=0))
cell_6t.add(gdstk.Label('gnd', (0,0), layer=51, texttype=0))
cell_6t.add(gdstk.Label('bl', (2.4,6.9), layer=51, texttype=0))
cell_6t.add(gdstk.Label('br', (7.8,7.5), layer=51, texttype=0))
cell_6t.add(gdstk.Label('wl', (5.1,2.1), layer=49, texttype=0))
cell_6t.add(gdstk.Label('vdd', (5.1,13.8), layer=51, texttype=0))
cell_6t.add(gdstk.Label('gnd', (10.2,6.9), layer=51, texttype=0))
cell_6t.add(gdstk.Label('gnd', (0,6.9), layer=51, texttype=0))

bitline_load = lib.new_cell('bitline_load')
R(bitline_load, metal1, [(-0.6,1.5,10.5,2.7), (-0.6,24.9,10.5,26.1), (-0.6,29.1,10.5,30.3), (-0.6,52.5,10.5,53.7)])
R(bitline_load, metal2, [(1.8,-0.6,3,57.3), (7.2,0.6,8.4,58.5)])
A(bitline_load, metal3, -0.75, 6.15, 1.5, 1.5, 1, 4, 0, 13.8)
A(bitline_load, metal3, 9.45, 6.15, 1.5, 1.5, 1, 4, 0, 13.8)
R(bitline_load, metal3, [(4.35,13.05,5.85,14.55), (4.35,40.65,5.85,42.15)])
bitline_load.add(gdstk.Reference(cell_6t, (0,0)))
bitline_load.add(gdstk.Reference(cell_6t, (0,27.6), x_reflection=True))
bitline_load.add(gdstk.Reference(cell_6t, (0,27.6)))
bitline_load.add(gdstk.Reference(cell_6t, (0,55.2), x_reflection=True))
bitline_load.add(gdstk.Reference(metal2_via2_metal3_1x1, (4.2,12.9)))
bitline_load.add(gdstk.Reference(metal2_via2_metal3_1x1, (4.2,12.9)))
bitline_load.add(gdstk.Reference(metal2_via2_metal3_1x1, (4.2,40.5)))
bitline_load.add(gdstk.Reference(metal2_via2_metal3_1x1, (4.2,40.5)))
bitline_load.add(gdstk.Reference(metal2_via2_metal3_1x1, (9.3,6)))
bitline_load.add(gdstk.Reference(metal2_via2_metal3_1x1, (-0.9,6)))
bitline_load.add(gdstk.Reference(metal2_via2_metal3_1x1, (9.3,19.8)))
bitline_load.add(gdstk.Reference(metal2_via2_metal3_1x1, (-0.9,19.8)))
bitline_load.add(gdstk.Reference(metal2_via2_metal3_1x1, (9.3,33.6)))
bitline_load.add(gdstk.Reference(metal2_via2_metal3_1x1, (-0.9,33.6)))
bitline_load.add(gdstk.Reference(metal2_via2_metal3_1x1, (9.3,47.4)))
bitline_load.add(gdstk.Reference(metal2_via2_metal3_1x1, (-0.9,47.4)))
bitline_load.add(gdstk.Label('bl[0]', (2.4,28.35), layer=51, texttype=0))
bitline_load.add(gdstk.Label('br[0]', (7.8,29.55), layer=51, texttype=0))
bitline_load.add(gdstk.Label('wl[0]', (4.95,2.1), layer=49, texttype=0))
bitline_load.add(gdstk.Label('wl[1]', (4.95,25.5), layer=49, texttype=0))
bitline_load.add(gdstk.Label('wl[2]', (4.95,29.7), layer=49, texttype=0))
bitline_load.add(gdstk.Label('wl[3]', (4.95,53.1), layer=49, texttype=0))
bitline_load.add(gdstk.Label('vdd', (5.1,13.8), layer=62, texttype=0))
bitline_load.add(gdstk.Label('vdd', (5.1,41.4), layer=62, texttype=0))
bitline_load.add(gdstk.Label('gnd', (10.2,6.9), layer=62, texttype=0))
bitline_load.add(gdstk.Label('gnd', (0,6.9), layer=62, texttype=0))
bitline_load.add(gdstk.Label('gnd', (10.2,20.7), layer=62, texttype=0))
bitline_load.add(gdstk.Label('gnd', (0,20.7), layer=62, texttype=0))
bitline_load.add(gdstk.Label('gnd', (10.2,34.5), layer=62, texttype=0))
bitline_load.add(gdstk.Label('gnd', (0,34.5), layer=62, texttype=0))
bitline_load.add(gdstk.Label('gnd', (10.2,48.3), layer=62, texttype=0))
bitline_load.add(gdstk.Label('gnd', (0,48.3), layer=62, texttype=0))

replica_bitline = lib.new_cell('replica_bitline')
R(replica_bitline, nwell, [(19.2,3.75,28.8,13.65)])
R(replica_bitline, poly, [(24.9,12.45,25.5,15.15)])
R(replica_bitline, metal1, [(16.2,10.5,24,11.4), (23.55,10.5,24.45,11.4), (23.55,10.95,24.45,11.25), (25.2,14.7,34.2,15.6), (33.75,14.7,34.65,15.6), (33.75,15,34.65,15.9), (34.2,15,43.2,15.9), (33.75,15.15,34.65,15.45), (54.3,19.2,56.4,20.1), (54.3,42.6,56.4,43.5), (54.3,46.8,56.4,47.7), (54.3,70.2,56.4,71.1)])
R(replica_bitline, metal2, [(2.4,0,3.3,17.55), (13.35,0,14.25,10.95), (23.55,0,24.45,0.9), (24,0,46.2,0.9), (45.75,0,46.65,0.9), (23.55,0.45,24.45,11.25), (45.75,0.45,46.65,3.15), (25.2,14.7,34.5,15.6), (34.05,14.7,34.95,15.6), (34.05,15.15,34.95,17.55)])
A(replica_bitline, metal3, 48.15, 3, 1.5, 1.5, 1, 3, 0, 27.6)
A(replica_bitline, metal3, 43.05, 9.9, 1.5, 1.5, 1, 5, 0, 13.8)
A(replica_bitline, metal3, 53.25, 9.9, 1.5, 1.5, 1, 5, 0, 13.8)
A(replica_bitline, metal3, 18.45, 16.8, 1.5, 1.5, 1, 5, 0, 13.8)
A(replica_bitline, metal3, 28.05, 16.8, 1.5, 1.5, 1, 5, 0, 13.8)
R(replica_bitline, metal3, [(8.85,3,10.35,4.5), (25.65,10.5,27.15,12), (55.65,18.9,57.15,20.4), (55.65,42.3,57.15,43.8), (55.65,46.5,57.15,48), (55.65,69.9,57.15,71.4)])
replica_bitline.add(gdstk.Reference(pinv_10, (19.2,17.55), rotation=pi))
replica_bitline.add(gdstk.Reference(pmos_m1_w1_2, (23.4,10.65)))
replica_bitline.add(gdstk.Reference(delay_chain, (0,17.55)))
replica_bitline.add(gdstk.Reference(replica_cell_6t, (43.8,17.55), x_reflection=True))
replica_bitline.add(gdstk.Reference(bitline_load, (43.8,17.55)))
replica_bitline.add(gdstk.Reference(metal1_via1_metal2_1x1, (10.2,3.15), rotation=pi/2))
replica_bitline.add(gdstk.Reference(metal2_via2_metal3_1x1, (10.5,2.85), rotation=pi/2))
replica_bitline.add(gdstk.Reference(metal1_via1_metal2_1x1, (48.3,3.15)))
replica_bitline.add(gdstk.Reference(metal2_via2_metal3_1x1, (48,2.85)))
replica_bitline.add(gdstk.Reference(metal1_via1_metal2_1x1, (44.4,10.05), rotation=pi/2))
replica_bitline.add(gdstk.Reference(metal2_via2_metal3_1x1, (44.7,9.75), rotation=pi/2))
replica_bitline.add(gdstk.Reference(metal1_via1_metal2_1x1, (54.6,10.05), rotation=pi/2))
replica_bitline.add(gdstk.Reference(metal2_via2_metal3_1x1, (54.9,9.75), rotation=pi/2))
replica_bitline.add(gdstk.Reference(metal1_via1_metal2_1x1, (57,19.05), rotation=pi/2))
replica_bitline.add(gdstk.Reference(metal2_via2_metal3_1x1, (57.3,18.75), rotation=pi/2))
replica_bitline.add(gdstk.Reference(metal1_via1_metal2_1x1, (57,42.45), rotation=pi/2))
replica_bitline.add(gdstk.Reference(metal2_via2_metal3_1x1, (57.3,42.15), rotation=pi/2))
replica_bitline.add(gdstk.Reference(metal1_via1_metal2_1x1, (57,46.65), rotation=pi/2))
replica_bitline.add(gdstk.Reference(metal2_via2_metal3_1x1, (57.3,46.35), rotation=pi/2))
replica_bitline.add(gdstk.Reference(metal1_via1_metal2_1x1, (57,70.05), rotation=pi/2))
replica_bitline.add(gdstk.Reference(metal2_via2_metal3_1x1, (57.3,69.75), rotation=pi/2))
replica_bitline.add(gdstk.Reference(poly_contact_metal1_1x1, (24.6,14.55)))
replica_bitline.add(gdstk.Reference(metal1_via1_metal2_1x1, (24.6,14.55)))
replica_bitline.add(gdstk.Reference(metal1_via1_metal2_1x1, (27,10.65), rotation=pi/2))
replica_bitline.add(gdstk.Reference(metal2_via2_metal3_1x1, (27.3,10.35), rotation=pi/2))
replica_bitline.add(gdstk.Reference(metal1_via1_metal2_1x1, (23.4,10.65)))
replica_bitline.add(gdstk.Reference(metal1_via1_metal2_1x1, (13.2,10.35)))
replica_bitline.add(gdstk.Label('vdd', (48.9,31.35), layer=62, texttype=0))
replica_bitline.add(gdstk.Label('vdd', (48.9,58.95), layer=62, texttype=0))
replica_bitline.add(gdstk.Label('vdd', (19.2,31.35), layer=62, texttype=0))
replica_bitline.add(gdstk.Label('vdd', (28.8,31.35), layer=62, texttype=0))
replica_bitline.add(gdstk.Label('vdd', (19.2,58.95), layer=62, texttype=0))
replica_bitline.add(gdstk.Label('vdd', (28.8,58.95), layer=62, texttype=0))
replica_bitline.add(gdstk.Label('vdd', (9.6,3.75), layer=62, texttype=0))
replica_bitline.add(gdstk.Label('vdd', (48.9,3.75), layer=62, texttype=0))
replica_bitline.add(gdstk.Label('vdd', (26.4,11.25), layer=62, texttype=0))
replica_bitline.add(gdstk.Label('gnd', (54,24.45), layer=62, texttype=0))
replica_bitline.add(gdstk.Label('gnd', (43.8,24.45), layer=62, texttype=0))
replica_bitline.add(gdstk.Label('gnd', (54,38.25), layer=62, texttype=0))
replica_bitline.add(gdstk.Label('gnd', (43.8,38.25), layer=62, texttype=0))
replica_bitline.add(gdstk.Label('gnd', (54,52.05), layer=62, texttype=0))
replica_bitline.add(gdstk.Label('gnd', (43.8,52.05), layer=62, texttype=0))
replica_bitline.add(gdstk.Label('gnd', (54,65.85), layer=62, texttype=0))
replica_bitline.add(gdstk.Label('gnd', (43.8,65.85), layer=62, texttype=0))
replica_bitline.add(gdstk.Label('gnd', (19.2,17.55), layer=62, texttype=0))
replica_bitline.add(gdstk.Label('gnd', (28.8,17.55), layer=62, texttype=0))
replica_bitline.add(gdstk.Label('gnd', (19.2,45.15), layer=62, texttype=0))
replica_bitline.add(gdstk.Label('gnd', (28.8,45.15), layer=62, texttype=0))
replica_bitline.add(gdstk.Label('gnd', (19.2,72.75), layer=62, texttype=0))
replica_bitline.add(gdstk.Label('gnd', (28.8,72.75), layer=62, texttype=0))
replica_bitline.add(gdstk.Label('gnd', (43.8,10.65), layer=62, texttype=0))
replica_bitline.add(gdstk.Label('gnd', (54,10.65), layer=62, texttype=0))
replica_bitline.add(gdstk.Label('gnd', (56.4,19.65), layer=62, texttype=0))
replica_bitline.add(gdstk.Label('gnd', (56.4,43.05), layer=62, texttype=0))
replica_bitline.add(gdstk.Label('gnd', (56.4,47.25), layer=62, texttype=0))
replica_bitline.add(gdstk.Label('gnd', (56.4,70.65), layer=62, texttype=0))
replica_bitline.add(gdstk.Label('en', (2.85,8.775), layer=51, texttype=0))
replica_bitline.add(gdstk.Label('out', (13.8,5.475), layer=51, texttype=0))

lib.write_gds('replica_bitline.gds')
